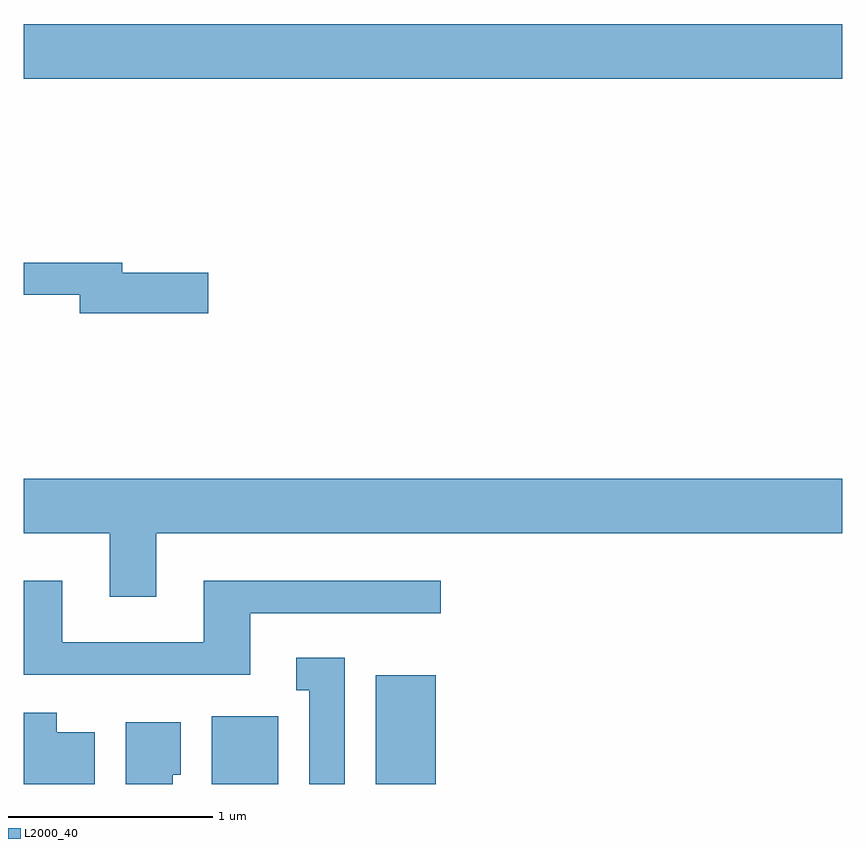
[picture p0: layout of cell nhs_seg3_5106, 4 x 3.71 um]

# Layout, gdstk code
import gdstk
lib = gdstk.Library(unit=1e-6, precision=1e-09)
def R(c, l, rs):  # rectangles x0, y0, x1, y1
    for r in rs: c.add(gdstk.rectangle(r[:2], r[2:], *l))
def P(c, l, *ps):  # polygons
    for p in ps: c.add(gdstk.Polygon(p, *l))
L2000_40 = (2000, 40)

nhs_seg3_5106 = lib.new_cell('nhs_seg3_5106')
R(nhs_seg3_5106, L2000_40, [(336.531,1135.892,336.854,1136.224), (337.331,1135.892,337.624,1136.424), (335.611,1139.336,339.611,1139.604)])
P(nhs_seg3_5106, L2000_40, [(336.514,1138.389),(336.094,1138.389),(336.094,1138.439),(335.611,1138.439),(335.611,1138.281),(335.886,1138.281),(335.886,1138.191),(336.514,1138.191)],
  [(336.259,1137.116),(339.611,1137.116),(339.611,1137.384),(335.611,1137.384),(335.611,1137.116),(336.031,1137.116),(336.031,1136.806),(336.259,1136.806)],
  [(336.719,1136.726),(337.648,1136.726),(337.648,1136.884),(336.491,1136.884),(336.491,1136.584),(335.799,1136.584),(335.799,1136.884),(335.611,1136.884),(335.611,1136.426),(336.719,1136.426)],
  [(337.179,1136.509),(336.943,1136.509),(336.943,1136.351),(337.006,1136.351),(337.006,1135.892),(337.179,1135.892)],
  [(335.959,1136.144),(335.774,1136.144),(335.774,1136.239),(335.611,1136.239),(335.611,1135.892),(335.959,1135.892)],
  [(336.339,1135.936),(336.379,1135.936),(336.379,1136.194),(336.111,1136.194),(336.111,1135.892),(336.339,1135.892)])

lib.write_gds('nhs_seg3_5106.gds')
